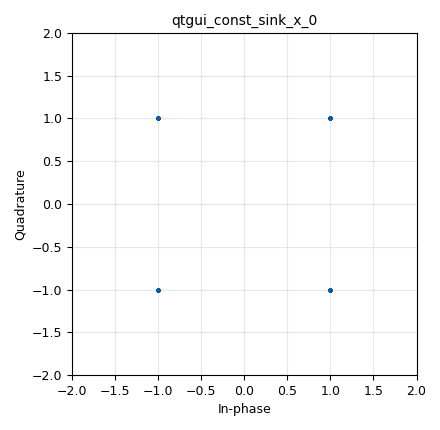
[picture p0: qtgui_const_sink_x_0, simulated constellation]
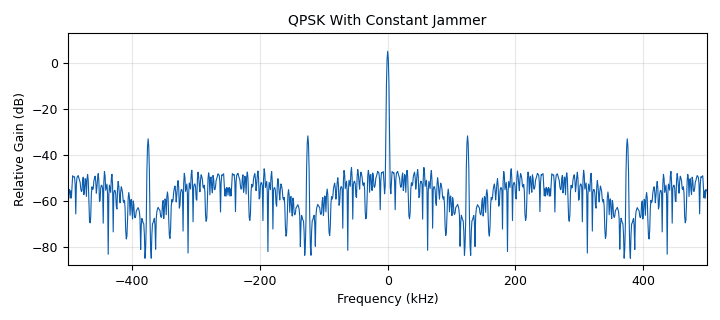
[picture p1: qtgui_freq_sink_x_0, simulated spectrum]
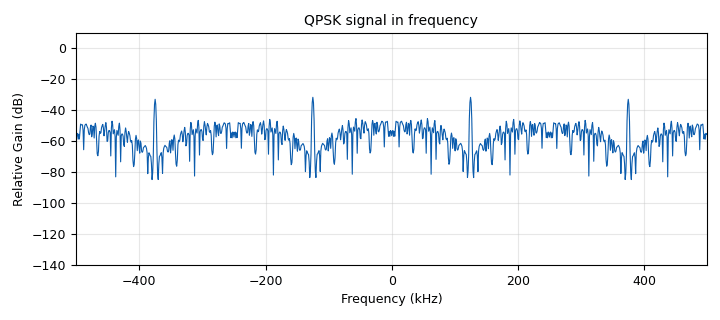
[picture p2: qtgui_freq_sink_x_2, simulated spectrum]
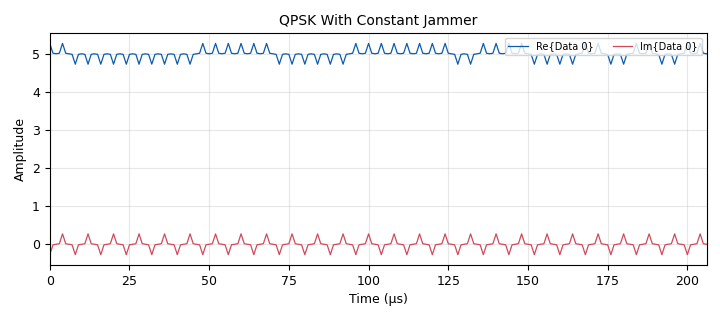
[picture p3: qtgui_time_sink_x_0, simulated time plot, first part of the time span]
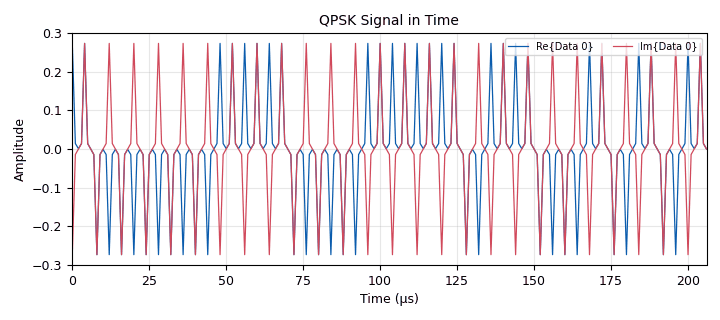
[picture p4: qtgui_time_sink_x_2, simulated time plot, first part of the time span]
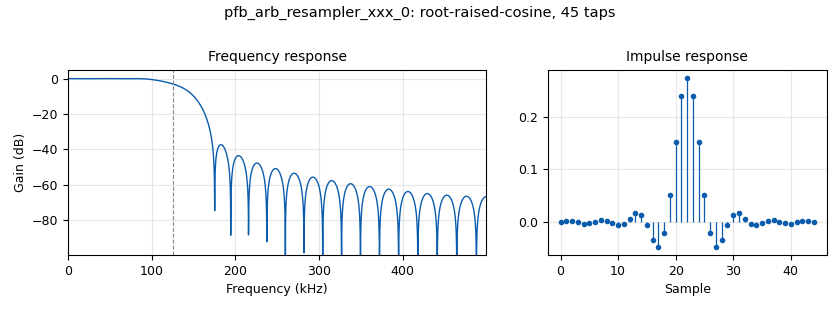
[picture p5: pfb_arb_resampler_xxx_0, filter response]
options:
  parameters:
    generate_options: qt_gui
    id: first_first
    output_language: python
    title: QPSK Transmitter for USRP
  states: {}

blocks:
- name: rrc_taps
  id: variable
  parameters:
    value: firdes.root_raised_cosine(1.0, samp_rate, samp_rate/4, 0.35, 45)
  states: {}
- name: samp_rate
  id: variable
  parameters:
    value: '1000000'
  states: {}
- name: analog_random_source_x_0
  id: analog_random_source_x
  parameters:
    max: '4'
    min: '0'
    num_samps: '10000'
    repeat: 'True'
    type: byte
  states: {}
- name: analog_sig_source_x_0
  id: analog_sig_source_x
  parameters:
    amp: '5'
    freq: 915e6
    offset: '0'
    phase: '0'
    samp_rate: samp_rate
    type: complex
    waveform: analog.GR_CONST_WAVE
  states: {}
- name: blocks_add_xx_1
  id: blocks_add_xx
  parameters:
    type: complex
  states: {}
- name: blocks_stream_to_tagged_stream_0
  id: blocks_stream_to_tagged_stream
  parameters:
    len_tag_key: '"packet_len"'
    packet_len: '100'
    type: byte
  states: {}
- name: blocks_unpack_k_bits_bb_0
  id: blocks_unpack_k_bits_bb
  parameters:
    k: '2'
  states: {}
- name: digital_chunks_to_symbols_xx_0
  id: digital_chunks_to_symbols_xx
  parameters:
    dimension: '2'
    in_type: byte
    out_type: complex
    symbol_table: '[-1-1j, -1+1j, 1-1j, 1+1j]'
  states: {}
- name: pfb_arb_resampler_xxx_0
  id: pfb_arb_resampler_xxx
  parameters:
    atten: '100'
    nfilts: '32'
    rrate: '4'
    taps: rrc_taps
    type: ccf
  states: {}
- name: qtgui_const_sink_x_0
  id: qtgui_const_sink_x
  parameters:
    size: '1024'
    type: complex
  states: {}
- name: qtgui_freq_sink_x_0
  id: qtgui_freq_sink_x
  parameters:
    autoscale: 'True'
    bw: samp_rate
    fc: '0'
    fftsize: '1024'
    grid: 'True'
    name: '"QPSK With Constant Jammer"'
    type: complex
  states: {}
- name: qtgui_freq_sink_x_2
  id: qtgui_freq_sink_x
  parameters:
    bw: samp_rate
    fc: '0'
    fftsize: '1024'
    name: '"QPSK signal in frequency"'
    type: complex
  states: {}
- name: qtgui_time_sink_x_0
  id: qtgui_time_sink_x
  parameters:
    autoscale: 'True'
    grid: 'True'
    name: '"QPSK With Constant Jammer"'
    size: '1024'
    srate: samp_rate
    type: complex
  states: {}
- name: qtgui_time_sink_x_2
  id: qtgui_time_sink_x
  parameters:
    autoscale: 'True'
    grid: 'True'
    name: '"QPSK Signal in Time"'
    size: '1024'
    srate: samp_rate
    type: complex
  states: {}
- name: uhd_usrp_sink_0
  id: uhd_usrp_sink
  parameters:
    ant0: '"TX/RX"'
    bw0: samp_rate
    center_freq0: 915e6
    gain0: '70'
    samp_rate: samp_rate
    stream_args: peak=0.003906
    stream_chans: '[0]'
    sync: none
    type: fc32
  states: {}

connections:
- [analog_random_source_x_0, '0', blocks_unpack_k_bits_bb_0, '0']
- [analog_sig_source_x_0, '0', blocks_add_xx_1, '1']
- [blocks_add_xx_1, '0', qtgui_freq_sink_x_0, '0']
- [blocks_add_xx_1, '0', qtgui_time_sink_x_0, '0']
- [blocks_add_xx_1, '0', uhd_usrp_sink_0, '0']
- [blocks_stream_to_tagged_stream_0, '0', digital_chunks_to_symbols_xx_0, '0']
- [blocks_unpack_k_bits_bb_0, '0', blocks_stream_to_tagged_stream_0, '0']
- [digital_chunks_to_symbols_xx_0, '0', pfb_arb_resampler_xxx_0, '0']
- [digital_chunks_to_symbols_xx_0, '0', qtgui_const_sink_x_0, '0']
- [pfb_arb_resampler_xxx_0, '0', blocks_add_xx_1, '0']
- [pfb_arb_resampler_xxx_0, '0', qtgui_freq_sink_x_2, '0']
- [pfb_arb_resampler_xxx_0, '0', qtgui_time_sink_x_2, '0']

metadata:
  file_format: 1
  grc_version: 3.10.10.0
